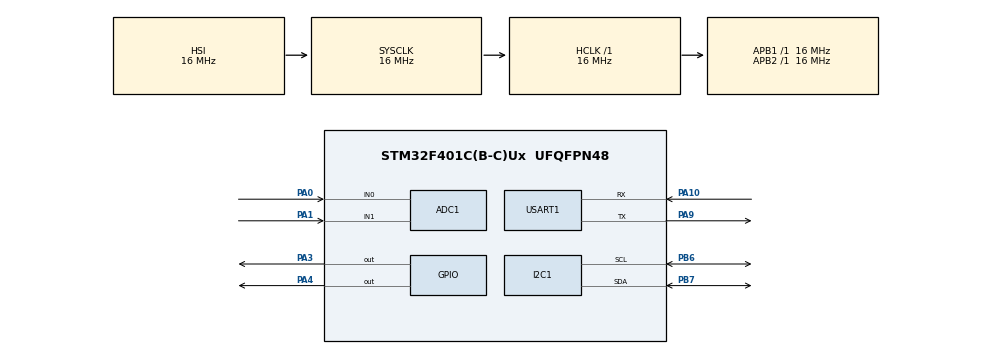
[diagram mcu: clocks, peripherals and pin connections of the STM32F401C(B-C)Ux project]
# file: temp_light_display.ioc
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ADC1.Channel-0\#ChannelRegularConversion=ADC_CHANNEL_0
ADC1.Channel-1\#ChannelRegularConversion=ADC_CHANNEL_1
ADC1.ContinuousConvMode=ENABLE
ADC1.DMAContinuousRequests=ENABLE
ADC1.NbrOfConversion=2
ADC1.NbrOfConversionFlag=1
ADC1.Rank-0\#ChannelRegularConversion=1
ADC1.Rank-1\#ChannelRegularConversion=2
ADC1.SamplingTime-0\#ChannelRegularConversion=ADC_SAMPLETIME_3CYCLES
ADC1.SamplingTime-1\#ChannelRegularConversion=ADC_SAMPLETIME_3CYCLES
ADC1.master=1
Dma.ADC1.0.Direction=DMA_PERIPH_TO_MEMORY
Dma.ADC1.0.FIFOMode=DMA_FIFOMODE_DISABLE
Dma.ADC1.0.Instance=DMA2_Stream0
Dma.ADC1.0.MemDataAlignment=DMA_MDATAALIGN_HALFWORD
Dma.ADC1.0.MemInc=DMA_MINC_ENABLE
Dma.ADC1.0.Mode=DMA_CIRCULAR
Dma.ADC1.0.PeriphDataAlignment=DMA_PDATAALIGN_HALFWORD
Dma.ADC1.0.PeriphInc=DMA_PINC_DISABLE
Dma.ADC1.0.Priority=DMA_PRIORITY_LOW
Dma.Request0=ADC1
Mcu.Family=STM32F4
Mcu.Name=STM32F401C(B-C)Ux
Mcu.Package=UFQFPN48
NVIC.PriorityGroup=NVIC_PRIORITYGROUP_4
PA0-WKUP.Signal=ADCx_IN0
PA1.Signal=ADCx_IN1
PA10.Mode=Asynchronous
PA10.Signal=USART1_RX
PA3.Signal=GPIO_Output
PA4.Signal=GPIO_Output
PA9.Mode=Asynchronous
PA9.Signal=USART1_TX
PB6.Mode=I2C
PB6.Signal=I2C1_SCL
PB7.Mode=I2C
PB7.Signal=I2C1_SDA
PH0\ -\ OSC_IN.Mode=HSE-External-Oscillator
PH0\ -\ OSC_IN.Signal=RCC_OSC_IN
PH1\ -\ OSC_OUT.Mode=HSE-External-Oscillator
PH1\ -\ OSC_OUT.Signal=RCC_OSC_OUT
ProjectManager.HeapSize=0x200
ProjectManager.StackSize=0x400
ProjectManager.TargetToolchain=STM32CubeIDE
RCC.48MHZClocksFreq_Value=48000000
RCC.AHBFreq_Value=16000000
RCC.APB1Freq_Value=16000000
RCC.APB2Freq_Value=16000000
RCC.CortexFreq_Value=16000000
RCC.HSE_VALUE=25000000
RCC.HSI_VALUE=16000000
RCC.LSE_VALUE=32768
RCC.PLLM=15
RCC.PLLN=144
RCC.PLLQ=5
RCC.PLLSourceVirtual=RCC_PLLSOURCE_HSE
RCC.SYSCLKFreq_VALUE=16000000
RCC.VCOOutputFreq_Value=240000000
SH.ADCx_IN0.0=ADC1_IN0,IN0
SH.ADCx_IN1.0=ADC1_IN1,IN1
USART1.VirtualMode=VM_ASYNC
board=custom

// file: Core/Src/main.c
/* USER CODE BEGIN Header */
/**
  ******************************************************************************
  * @file           : main.c
  * @brief          : Main program body
  ******************************************************************************
  * @attention
  *
  * Copyright (c) 2026 STMicroelectronics.
  * All rights reserved.
  *
  * This software is licensed under terms that can be found in the LICENSE file
  * in the root directory of this software component.
  * If no LICENSE file comes with this software, it is provided AS-IS.
  *
  ******************************************************************************
  */
/* USER CODE END Header */
#include "main.h"

/* USER CODE BEGIN Includes */
#include "serial.h"
#include "sensor.h"
#include "display.h"
#include "ssd1306.h"
/* USER CODE END Includes */

ADC_HandleTypeDef hadc1;
DMA_HandleTypeDef hdma_adc1;

I2C_HandleTypeDef hi2c1;

UART_HandleTypeDef huart1;

void SystemClock_Config(void);
static void MX_GPIO_Init(void);
static void MX_DMA_Init(void);
static void MX_ADC1_Init(void);
static void MX_I2C1_Init(void);
static void MX_USART1_UART_Init(void);

int main(void)
{

  /* MCU Configuration--------------------------------------------------------*/

  /* Reset of all peripherals, Initializes the Flash interface and the Systick. */
  HAL_Init();

  /* Configure the system clock */
  SystemClock_Config();

  /* Initialize all configured peripherals */
  MX_GPIO_Init();
  MX_DMA_Init();
  MX_ADC1_Init();
  MX_I2C1_Init();
  MX_USART1_UART_Init();
  /* USER CODE BEGIN 2 */

  // init custom serial output
  serial_init(&huart1);

  // create buffer for raw adc values and link if do adc and dma
  uint16_t raw[2];
  HAL_StatusTypeDef adc_status = HAL_ADC_Start_DMA(&hadc1,(uint32_t *)raw, 2);

  // init screen
  uint8_t screen_status = display_init(&hi2c1);

  /* USER CODE END 2 */

  /* Infinite loop */
  /* USER CODE BEGIN WHILE */

  while (adc_status || screen_status) {
	  print_to_serial("Eval %d\r\n", adc_status || screen_status);
	  print_to_serial("Encountered issue on init\r\n");
	  print_to_serial("HAL_ADC_Start_DMA status: %d\r\n", adc_status);
	  print_to_serial("SSD1306 Screen status: %d\r\n", screen_status);
	  HAL_Delay(1000);

	  if (adc_status) {
		  adc_status = HAL_ADC_Start_DMA(&hadc1,(uint32_t *)raw, 2);
	  }

	  if (screen_status) {
		  screen_status = display_init(&hi2c1);
	  }
  }

  float values[2];
  while (1)
  {
    /* USER CODE END WHILE */

    /* USER CODE BEGIN 3 */
	get_calculated_sensor_values(raw, values);
	print_processed_sensor_data(values);
	draw_sensor_values(values);
	HAL_Delay(1000);
  }
  /* USER CODE END 3 */
}

void SystemClock_Config(void)
{
  RCC_OscInitTypeDef RCC_OscInitStruct = {0};
  RCC_ClkInitTypeDef RCC_ClkInitStruct = {0};

  /** Configure the main internal regulator output voltage
  */
  __HAL_RCC_PWR_CLK_ENABLE();
  __HAL_PWR_VOLTAGESCALING_CONFIG(PWR_REGULATOR_VOLTAGE_SCALE2);

  /** Initializes the RCC Oscillators according to the specified parameters
  * in the RCC_OscInitTypeDef structure.
  */
  RCC_OscInitStruct.OscillatorType = RCC_OSCILLATORTYPE_HSI;
  RCC_OscInitStruct.HSIState = RCC_HSI_ON;
  RCC_OscInitStruct.HSICalibrationValue = RCC_HSICALIBRATION_DEFAULT;
  RCC_OscInitStruct.PLL.PLLState = RCC_PLL_NONE;
  if (HAL_RCC_OscConfig(&RCC_OscInitStruct) != HAL_OK)
  {
    Error_Handler();
  }

  /** Initializes the CPU, AHB and APB buses clocks
  */
  RCC_ClkInitStruct.ClockType = RCC_CLOCKTYPE_HCLK|RCC_CLOCKTYPE_SYSCLK
                              |RCC_CLOCKTYPE_PCLK1|RCC_CLOCKTYPE_PCLK2;
  RCC_ClkInitStruct.SYSCLKSource = RCC_SYSCLKSOURCE_HSI;
  RCC_ClkInitStruct.AHBCLKDivider = RCC_SYSCLK_DIV1;
  RCC_ClkInitStruct.APB1CLKDivider = RCC_HCLK_DIV1;
  RCC_ClkInitStruct.APB2CLKDivider = RCC_HCLK_DIV1;

  if (HAL_RCC_ClockConfig(&RCC_ClkInitStruct, FLASH_LATENCY_0) != HAL_OK)
  {
    Error_Handler();
  }
}

static void MX_ADC1_Init(void)
{

  ADC_ChannelConfTypeDef sConfig = {0};

  /** Configure the global features of the ADC (Clock, Resolution, Data Alignment and number of conversion)
  */
  hadc1.Instance = ADC1;
  hadc1.Init.ClockPrescaler = ADC_CLOCK_SYNC_PCLK_DIV2;
  hadc1.Init.Resolution = ADC_RESOLUTION_12B;
  hadc1.Init.ScanConvMode = ENABLE;
  hadc1.Init.ContinuousConvMode = ENABLE;
  hadc1.Init.DiscontinuousConvMode = DISABLE;
  hadc1.Init.ExternalTrigConvEdge = ADC_EXTERNALTRIGCONVEDGE_NONE;
  hadc1.Init.ExternalTrigConv = ADC_SOFTWARE_START;
  hadc1.Init.DataAlign = ADC_DATAALIGN_RIGHT;
  hadc1.Init.NbrOfConversion = 2;
  hadc1.Init.DMAContinuousRequests = ENABLE;
  hadc1.Init.EOCSelection = ADC_EOC_SINGLE_CONV;
  if (HAL_ADC_Init(&hadc1) != HAL_OK)
  {
    Error_Handler();
  }

  /** Configure for the selected ADC regular channel its corresponding rank in the sequencer and its sample time.
  */
  sConfig.Channel = ADC_CHANNEL_0;
  sConfig.Rank = 1;
  sConfig.SamplingTime = ADC_SAMPLETIME_3CYCLES;
  if (HAL_ADC_ConfigChannel(&hadc1, &sConfig) != HAL_OK)
  {
    Error_Handler();
  }

  /** Configure for the selected ADC regular channel its corresponding rank in the sequencer and its sample time.
  */
  sConfig.Channel = ADC_CHANNEL_1;
  sConfig.Rank = 2;
  if (HAL_ADC_ConfigChannel(&hadc1, &sConfig) != HAL_OK)
  {
    Error_Handler();
  }

}

static void MX_I2C1_Init(void)
{

  hi2c1.Instance = I2C1;
  hi2c1.Init.ClockSpeed = 100000;
  hi2c1.Init.DutyCycle = I2C_DUTYCYCLE_2;
  hi2c1.Init.OwnAddress1 = 0;
  hi2c1.Init.AddressingMode = I2C_ADDRESSINGMODE_7BIT;
  hi2c1.Init.DualAddressMode = I2C_DUALADDRESS_DISABLE;
  hi2c1.Init.OwnAddress2 = 0;
  hi2c1.Init.GeneralCallMode = I2C_GENERALCALL_DISABLE;
  hi2c1.Init.NoStretchMode = I2C_NOSTRETCH_DISABLE;
  if (HAL_I2C_Init(&hi2c1) != HAL_OK)
  {
    Error_Handler();
  }

}

static void MX_USART1_UART_Init(void)
{

  huart1.Instance = USART1;
  huart1.Init.BaudRate = 115200;
  huart1.Init.WordLength = UART_WORDLENGTH_8B;
  huart1.Init.StopBits = UART_STOPBITS_1;
  huart1.Init.Parity = UART_PARITY_NONE;
  huart1.Init.Mode = UART_MODE_TX_RX;
  huart1.Init.HwFlowCtl = UART_HWCONTROL_NONE;
  huart1.Init.OverSampling = UART_OVERSAMPLING_16;
  if (HAL_UART_Init(&huart1) != HAL_OK)
  {
    Error_Handler();
  }

}

static void MX_DMA_Init(void)
{

  /* DMA controller clock enable */
  __HAL_RCC_DMA2_CLK_ENABLE();

}

static void MX_GPIO_Init(void)
{
  GPIO_InitTypeDef GPIO_InitStruct = {0};

  /* GPIO Ports Clock Enable */
  __HAL_RCC_GPIOH_CLK_ENABLE();
  __HAL_RCC_GPIOA_CLK_ENABLE();
  __HAL_RCC_GPIOB_CLK_ENABLE();

  /*Configure GPIO pin Output Level */
  HAL_GPIO_WritePin(GPIOA, GPIO_PIN_3|GPIO_PIN_4, GPIO_PIN_RESET);

  /*Configure GPIO pins : PA3 PA4 */
  GPIO_InitStruct.Pin = GPIO_PIN_3|GPIO_PIN_4;
  GPIO_InitStruct.Mode = GPIO_MODE_OUTPUT_PP;
  GPIO_InitStruct.Pull = GPIO_NOPULL;
  GPIO_InitStruct.Speed = GPIO_SPEED_FREQ_LOW;
  HAL_GPIO_Init(GPIOA, &GPIO_InitStruct);

}

void Error_Handler(void)
{
  __disable_irq();
  while (1)
  {
  }
}
